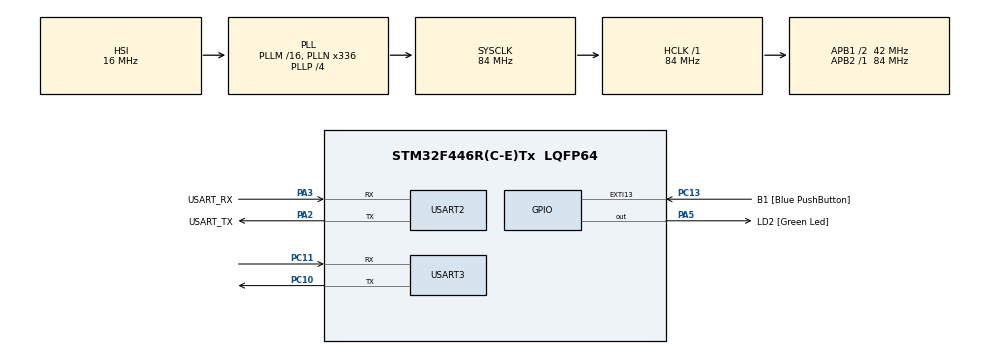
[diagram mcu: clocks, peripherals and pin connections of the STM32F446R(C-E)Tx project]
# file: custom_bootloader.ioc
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Mcu.Family=STM32F4
Mcu.Name=STM32F446R(C-E)Tx
Mcu.Package=LQFP64
NVIC.PriorityGroup=NVIC_PRIORITYGROUP_0
PA13.GPIO_Label=TMS
PA13.Signal=SYS_JTMS-SWDIO
PA14.GPIO_Label=TCK
PA14.Signal=SYS_JTCK-SWCLK
PA2.GPIO_Label=USART_TX
PA2.Mode=Asynchronous
PA2.Signal=USART2_TX
PA3.GPIO_Label=USART_RX
PA3.Mode=Asynchronous
PA3.Signal=USART2_RX
PA5.GPIO_Label=LD2 [Green Led]
PA5.Signal=GPIO_Output
PB3.GPIO_Label=SWO
PB3.Signal=SYS_JTDO-SWO
PC10.Mode=Asynchronous
PC10.Signal=USART3_TX
PC11.Mode=Asynchronous
PC11.Signal=USART3_RX
PC13.GPIO_Label=B1 [Blue PushButton]
PC13.GPIO_ModeDefaultEXTI=GPIO_MODE_IT_FALLING
PC13.Signal=GPXTI13
PC14-OSC32_IN.Signal=RCC_OSC32_IN
PC15-OSC32_OUT.Signal=RCC_OSC32_OUT
PH0-OSC_IN.Signal=RCC_OSC_IN
PH1-OSC_OUT.Signal=RCC_OSC_OUT
ProjectManager.HeapSize=0x200
ProjectManager.StackSize=0x400
ProjectManager.TargetToolchain=STM32CubeIDE
RCC.AHBFreq_Value=84000000
RCC.APB1CLKDivider=RCC_HCLK_DIV2
RCC.APB1Freq_Value=42000000
RCC.APB1TimFreq_Value=84000000
RCC.APB2Freq_Value=84000000
RCC.APB2TimFreq_Value=84000000
RCC.CortexFreq_Value=84000000
RCC.FLatency-AdvancedSettings=FLASH_LATENCY_2
RCC.HCLKFreq_Value=84000000
RCC.HSE_VALUE=8000000
RCC.HSI_VALUE=16000000
RCC.LSE_VALUE=32768
RCC.PLLN=336
RCC.PLLP=RCC_PLLP_DIV4
RCC.SYSCLKFreq_VALUE=84000000
RCC.SYSCLKSource=RCC_SYSCLKSOURCE_PLLCLK
RCC.USBFreq_Value=168000000
RCC.VCOOutputFreq_Value=336000000
USART2.VirtualMode=VM_ASYNC
USART3.VirtualMode=VM_ASYNC
VP_CRC_VS_CRC.Mode=CRC_Activate
board=NUCLEO-F446RE

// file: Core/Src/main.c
/* USER CODE BEGIN Header */
/**
  ******************************************************************************
  * @file           : main.c
  * @brief          : Main program body
  ******************************************************************************
  * @attention
  *
  * Copyright (c) 2026 STMicroelectronics.
  * All rights reserved.
  *
  * This software is licensed under terms that can be found in the LICENSE file
  * in the root directory of this software component.
  * If no LICENSE file comes with this software, it is provided AS-IS.
  *
  ******************************************************************************
  */
/* USER CODE END Header */
#include "main.h"

/* USER CODE BEGIN Includes */
#include <string.h>
#include <stdarg.h>
#include <stdio.h>
/* USER CODE END Includes */

/* USER CODE BEGIN PD */
#define BL_DEBUG_MSG_EN
#define BL_RX_LEN  200
uint8_t bl_rx_buffer[BL_RX_LEN];

/* USER CODE END PD */

CRC_HandleTypeDef hcrc;

UART_HandleTypeDef huart2;
UART_HandleTypeDef huart3;

/* USER CODE BEGIN PV */
#define C_UART   &huart2
#define D_UART   &huart3

/* USER CODE END PV */

void SystemClock_Config(void);
static void MX_GPIO_Init(void);
static void MX_CRC_Init(void);
static void MX_USART2_UART_Init(void);
static void MX_USART3_UART_Init(void);
/* USER CODE BEGIN PFP */
void printmsg(char *format,...);
/* USER CODE END PFP */

/* USER CODE BEGIN 0 */
char *msg="Gaurav\n";
/* USER CODE END 0 */

int main(void)
{

  /* USER CODE BEGIN 1 */

	//note : this is an bootloader code
  /* USER CODE END 1 */

  /* MCU Configuration--------------------------------------------------------*/

  /* Reset of all peripherals, Initializes the Flash interface and the Systick. */
  HAL_Init();

  /* Configure the system clock */
  SystemClock_Config();

  /* Initialize all configured peripherals */
  MX_GPIO_Init();
  MX_CRC_Init();
  MX_USART2_UART_Init();
  MX_USART3_UART_Init();
  /* USER CODE BEGIN 2 */
  //HAL_UART_Transmit(&huart2,(uint8_t*)msg , strlen(msg),HAL_MAX_DELAY);
  /* USER CODE END 2 */

  /* USER CODE BEGIN 3 */

  //in nucleo board pressing the user button makes it ground , it is different in disc board
  if(HAL_GPIO_ReadPin(B1_GPIO_Port,B1_Pin) == GPIO_PIN_RESET)
  {
	  // we should continue in bootloader mode
	  printmsg("BL_DEBUG_MSG:Button is pressed .. going to BL mode\n\r");
	  bootloader_uart_read_data();
  }
  else
  {
	  printmsg("BL_DEBUG_MSG:Button is not pressed .. executing user application\n\r");
	  bootloader_jump_to_user_app();
  }

  /* USER CODE END 3 */
}

void SystemClock_Config(void)
{
  RCC_OscInitTypeDef RCC_OscInitStruct = {0};
  RCC_ClkInitTypeDef RCC_ClkInitStruct = {0};

  /** Configure the main internal regulator output voltage
  */
  __HAL_RCC_PWR_CLK_ENABLE();
  __HAL_PWR_VOLTAGESCALING_CONFIG(PWR_REGULATOR_VOLTAGE_SCALE3);

  /** Initializes the RCC Oscillators according to the specified parameters
  * in the RCC_OscInitTypeDef structure.
  */
  RCC_OscInitStruct.OscillatorType = RCC_OSCILLATORTYPE_HSI;
  RCC_OscInitStruct.HSIState = RCC_HSI_ON;
  RCC_OscInitStruct.HSICalibrationValue = RCC_HSICALIBRATION_DEFAULT;
  RCC_OscInitStruct.PLL.PLLState = RCC_PLL_ON;
  RCC_OscInitStruct.PLL.PLLSource = RCC_PLLSOURCE_HSI;
  RCC_OscInitStruct.PLL.PLLM = 16;
  RCC_OscInitStruct.PLL.PLLN = 336;
  RCC_OscInitStruct.PLL.PLLP = RCC_PLLP_DIV4;
  RCC_OscInitStruct.PLL.PLLQ = 2;
  RCC_OscInitStruct.PLL.PLLR = 2;
  if (HAL_RCC_OscConfig(&RCC_OscInitStruct) != HAL_OK)
  {
    Error_Handler();
  }

  /** Initializes the CPU, AHB and APB buses clocks
  */
  RCC_ClkInitStruct.ClockType = RCC_CLOCKTYPE_HCLK|RCC_CLOCKTYPE_SYSCLK
                              |RCC_CLOCKTYPE_PCLK1|RCC_CLOCKTYPE_PCLK2;
  RCC_ClkInitStruct.SYSCLKSource = RCC_SYSCLKSOURCE_PLLCLK;
  RCC_ClkInitStruct.AHBCLKDivider = RCC_SYSCLK_DIV1;
  RCC_ClkInitStruct.APB1CLKDivider = RCC_HCLK_DIV2;
  RCC_ClkInitStruct.APB2CLKDivider = RCC_HCLK_DIV1;

  if (HAL_RCC_ClockConfig(&RCC_ClkInitStruct, FLASH_LATENCY_2) != HAL_OK)
  {
    Error_Handler();
  }
}

static void MX_CRC_Init(void)
{

  hcrc.Instance = CRC;
  if (HAL_CRC_Init(&hcrc) != HAL_OK)
  {
    Error_Handler();
  }

}

static void MX_USART2_UART_Init(void)
{

  huart2.Instance = USART2;
  huart2.Init.BaudRate = 115200;
  huart2.Init.WordLength = UART_WORDLENGTH_8B;
  huart2.Init.StopBits = UART_STOPBITS_1;
  huart2.Init.Parity = UART_PARITY_NONE;
  huart2.Init.Mode = UART_MODE_TX_RX;
  huart2.Init.HwFlowCtl = UART_HWCONTROL_NONE;
  huart2.Init.OverSampling = UART_OVERSAMPLING_16;
  if (HAL_UART_Init(&huart2) != HAL_OK)
  {
    Error_Handler();
  }

}

static void MX_USART3_UART_Init(void)
{

  huart3.Instance = USART3;
  huart3.Init.BaudRate = 115200;
  huart3.Init.WordLength = UART_WORDLENGTH_8B;
  huart3.Init.StopBits = UART_STOPBITS_1;
  huart3.Init.Parity = UART_PARITY_NONE;
  huart3.Init.Mode = UART_MODE_TX_RX;
  huart3.Init.HwFlowCtl = UART_HWCONTROL_NONE;
  huart3.Init.OverSampling = UART_OVERSAMPLING_16;
  if (HAL_UART_Init(&huart3) != HAL_OK)
  {
    Error_Handler();
  }

}

static void MX_GPIO_Init(void)
{
  GPIO_InitTypeDef GPIO_InitStruct = {0};

  /* GPIO Ports Clock Enable */
  __HAL_RCC_GPIOC_CLK_ENABLE();
  __HAL_RCC_GPIOH_CLK_ENABLE();
  __HAL_RCC_GPIOA_CLK_ENABLE();
  __HAL_RCC_GPIOB_CLK_ENABLE();

  /*Configure GPIO pin Output Level */
  HAL_GPIO_WritePin(LD2_GPIO_Port, LD2_Pin, GPIO_PIN_RESET);

  /*Configure GPIO pin : B1_Pin */
  GPIO_InitStruct.Pin = B1_Pin;
  GPIO_InitStruct.Mode = GPIO_MODE_IT_FALLING;
  GPIO_InitStruct.Pull = GPIO_NOPULL;
  HAL_GPIO_Init(B1_GPIO_Port, &GPIO_InitStruct);

  /*Configure GPIO pin : LD2_Pin */
  GPIO_InitStruct.Pin = LD2_Pin;
  GPIO_InitStruct.Mode = GPIO_MODE_OUTPUT_PP;
  GPIO_InitStruct.Pull = GPIO_NOPULL;
  GPIO_InitStruct.Speed = GPIO_SPEED_FREQ_LOW;
  HAL_GPIO_Init(LD2_GPIO_Port, &GPIO_InitStruct);

}

/* USER CODE BEGIN 4 */

/*
 * our cutsom Bootloader code flow chart
 *
 * Reset MCU -> [Inits : HAL ->gpio->UARTx->CRC->clock] -> <if user button is pressed>:
 *
 * if yes : bootloader_usart_read_data()
 * if no : bootloader_jump_to_user_app()
 *
 *
 * */

void  bootloader_uart_read_data(void) {
  uint8_t rcv_len=0;

  while(1) { // polling for usart_data
    memset(bl_rx_buffer,0,200);
    //here we will read and decode the commands coming from host
    //first read only one byte from the host , which is the "length" field of the command packet
    HAL_UART_Receive(C_UART,bl_rx_buffer,1,HAL_MAX_DELAY); // polling is done here , to recieve command packet
    rcv_len= bl_rx_buffer[0];
    HAL_UART_Receive(C_UART,&bl_rx_buffer[1],rcv_len,HAL_MAX_DELAY); // than read those many bytes , if length byte is received ,m read those many bytes

    // decoding the received command
    switch ( bl_rx_buffer[1] ) {
      case BL_GET_VER:
          bootloader_handle_getver_cmd(bl_rx_buffer); //individual handle command
          break;
      case BL_GET_HELP:
          bootloader_handle_gethelp_cmd(bl_rx_buffer);
          break;
      case BL_GET_CID:
          bootloader_handle_getcid_cmd(bl_rx_buffer);
          break;
      case BL_GET_RDP_STATUS:
          bootloader_handle_getrdp_cmd(bl_rx_buffer);
          break;
      case BL_GO_TO_ADDR:
          bootloader_handle_go_cmd(bl_rx_buffer);
          break;
      case BL_FLASH_ERASE:
          bootloader_handle_flash_erase_cmd(bl_rx_buffer);
          break;
      case BL_MEM_WRITE:
          bootloader_handle_mem_write_cmd(bl_rx_buffer);
          break;
      case BL_EN_RW_PROTECT:
          bootloader_handle_en_rw_protect(bl_rx_buffer);
          break;
      case BL_MEM_READ:
          bootloader_handle_mem_read(bl_rx_buffer);
          break;
      case BL_READ_SECTOR_P_STATUS:
          bootloader_handle_read_sector_protection_status(bl_rx_buffer);
          break;
      case BL_OTP_READ:
          bootloader_handle_read_otp(bl_rx_buffer);
          break;
      case BL_DIS_R_W_PROTECT:
          bootloader_handle_dis_rw_protect(bl_rx_buffer);
          break;
       default:
          printmsg("BL_DEBUG_MSG:Invalid command code received from host \n");
          break;

    }
  }
}

/******************* implementation of boot-loader command Handle functions **********************/

void bootloader_handle_getver_cmd(uint8_t *pbl_rx_buffer)
{

	// refer the flow chart
	// this is handle fucntion
	uint8_t bl_version;
	//1. verify the checksum

	// we verify the CRC over len and command code portion of the packet
	// len is 1 byte , command code is also 1 byte ==> 2bytes , CRC is of 4 bytes sent by host (CRC value)
	// total length of command packet
	uint32_t command_packet_len = pbl_rx_buffer[0]+1;

	//extract the CRC32 sent by the host , move the pointer and extract value pattern
	uint32_t host_crc = *((uint32_t*)(pbl_rx_buffer+command_packet_len-4)); /// i have made it to point to 4 bytes , and than derefenced , keep this pattern in mind
	printmsg("BL_DEBUG_MSG : bootloader_handle_getver_cmd\n");
	if(! bootloader_verify_crc(&pbl_rx_buffer[0],command_packet_len-4,host_crc)) // ==> returns 0 CRC is good , else if 1 CRC is bad
	{
		// for crc cal we need data over which we need to cal crc , len => for traversal over data , and host_crc
		// being sent as parameter

		printmsg("BL_DEBUG_MSG: checksum success !!\n");
		//checksum is correct ..
		bootloader_send_ack(pbl_rx_buffer[1],1); // send ACK
		bl_version= get_bootloader_version(); //obtain reply
		printmsg("BL_DEBUG_MSG:BL_VER :%d %x\n",bl_version,bl_version); //print using debug usart , usart3
		bootloader_uart_write_data(&bl_version,1); // send bootloader data back to host

	}
	else
	{
		printmsg("BL_DEBUG_MSG: checksum failed !!\n");
		//checksum is wrong sen nack
		bootloader_send_nack();

	}

}

void bootloader_handle_gethelp_cmd(uint8_t *pbl_rx_buffer){
		// this command handle is called for get_help command
		// this retrun ACK+ 10 bytes on crc success
		// 10 bytes corresponds to all the command codes

		uint8_t all_ten_command_codes[]={0x51,0x52,0x53,0x54,0x55,0x56,0x57,0x58,0x59,0x5A};

		// total length of command packet
		uint32_t command_packet_len = pbl_rx_buffer[0]+1;

		//extract the CRC32 sent by the host , move the pointer and extract value pattern
		uint32_t host_crc = *((uint32_t*)(pbl_rx_buffer+command_packet_len-4)); /// i have made it to point to 4 bytes , and than derefenced , keep this pattern in mind
		printmsg("BL_DEBUG_MSG : bootloader_handle_getver_cmd\n");
		if(! bootloader_verify_crc(&pbl_rx_buffer[0],command_packet_len-4,host_crc)) // ==> returns 0 CRC is good , else if 1 CRC is bad
		{
			// for crc cal we need data over which we need to cal crc , len => for traversal over data , and host_crc
			// being sent as parameter

			printmsg("BL_DEBUG_MSG: checksum success !!\n");
			//checksum is correct ..
			bootloader_send_ack(pbl_rx_buffer[1],10); // send ACK
		     //obtain reply --> all supported command codes
			//printmsg("BL_DEBUG_MSG:BL_VER :%d %x\n",bl_version,bl_version); //print using debug usart , usart3
			bootloader_uart_write_data(all_ten_command_codes,10); // send bootloader data back to host

		}
		else
		{
			printmsg("BL_DEBUG_MSG: checksum failed !!\n");
			//checksum is wrong sen nack
			bootloader_send_nack();

		}

}
void bootloader_handle_getcid_cmd(uint8_t *pbl_rx_buffer){

	        // handle to get the mcu cid
	        //chip identification number
	        uint16_t mcu_cid;

			// total length of command packet
			uint32_t command_packet_len = pbl_rx_buffer[0]+1;

			//extract the CRC32 sent by the host , move the pointer and extract value pattern
			uint32_t host_crc = *((uint32_t*)(pbl_rx_buffer+command_packet_len-4)); /// i have made it to point to 4 bytes , and than derefenced , keep this pattern in mind
			printmsg("BL_DEBUG_MSG : bootloader_handle_getver_cmd\n");
			if(! bootloader_verify_crc(&pbl_rx_buffer[0],command_packet_len-4,host_crc)) // ==> returns 0 CRC is good , else if 1 CRC is bad
			{
				// for crc cal we need data over which we need to cal crc , len => for traversal over data , and host_crc
				// being sent as parameter

				printmsg("BL_DEBUG_MSG: checksum success !!\n");
				//checksum is correct ..
				bootloader_send_ack(pbl_rx_buffer[1],2); // send ACK
			     //obtain reply
                mcu_cid=get_mcu_chip_id();

				//printmsg("BL_DEBUG_MSG:BL_VER :%d %x\n",bl_version,bl_version); //print using debug usart , usart3
				bootloader_uart_write_data((uint8_t*)&mcu_cid,2); // send bootloader data back to host

			}
			else
			{
				printmsg("BL_DEBUG_MSG: checksum failed !!\n");
				//checksum is wrong sen nack
				bootloader_send_nack();

			}

}
void bootloader_handle_getrdp_cmd(uint8_t *pbl_rx_buffer){
	//command_code for this is 0x54
	//should return the flash Read Protection level (1 Byte).
	//refer the pics on phone to get this , TDS concept use chat gpt to understand about read protection level

	uint8_t rdp_level;
	// total length of command packet
	uint32_t command_packet_len = pbl_rx_buffer[0]+1;

	//extract the CRC32 sent by the host , move the pointer and extract value pattern
	uint32_t host_crc = *((uint32_t*)(pbl_rx_buffer+command_packet_len-4)); /// i have made it to point to 4 bytes , and than derefenced , keep this pattern in mind
	printmsg("BL_DEBUG_MSG : bootloader_handle_getver_cmd\n");
	if(! bootloader_verify_crc(&pbl_rx_buffer[0],command_packet_len-4,host_crc)) // ==> returns 0 CRC is good , else if 1 CRC is bad
	{
		// for crc cal we need data over which we need to cal crc , len => for traversal over data , and host_crc
		// being sent as parameter

		printmsg("BL_DEBUG_MSG: checksum success !!\n");
		//checksum is correct ..
	    bootloader_send_ack(pbl_rx_buffer[1],1); // send ACK
		 //obtain reply
	    rdp_level=get_rdp_level_from_option_bytes();
        //printmsg("BL_DEBUG_MSG:BL_VER :%d %x\n",bl_version,bl_version); //print using debug usart , usart3
		bootloader_uart_write_data(&rdp_level,1); // send bootloader data back to host

	}
	else
	{
		printmsg("BL_DEBUG_MSG: checksum failed !!\n");
		//checksum is wrong sen nack
		bootloader_send_nack();

	}

}
void bootloader_handle_go_cmd(uint8_t *pbl_rx_buffer){
	// command code for this is 0x54
	//should return success or error coe (1 byte)
	// this command is used to jump bootloader to specified address
	  uint32_t go_address=0;
	  uint8_t addr_valid = ADDR_VALID;
	  uint8_t addr_invalid = ADDR_INVALID;

	  printmsg("BL_DEBUG_MSG:bootloader_handle_go_cmd\n");

	  //Total length of the command packet
	  uint32_t command_packet_len = pbl_rx_buffer[0]+1 ;

	  //extract the CRC32 sent by the Host
	  uint32_t host_crc = *((uint32_t * ) (pbl_rx_buffer+command_packet_len - 4) ) ;

	  if (! bootloader_verify_crc(&pbl_rx_buffer[0],command_packet_len-4,host_crc)) {

	    printmsg("BL_DEBUG_MSG:checksum success !!\n");

	    bootloader_send_ack(pbl_rx_buffer[1],1);

	    //extract the go address
	    go_address = *((uint32_t *)&pbl_rx_buffer[2] );
	    printmsg("BL_DEBUG_MSG:GO addr: %#x\n",go_address);

	  if( verify_address(go_address) == ADDR_VALID ) {
	    //tell host that address is fine
	    bootloader_uart_write_data(&addr_valid,1);

	    /*jump to "go" address.
	    we dont care what is being done there.
	    host must ensure that valid code is present over there
	    Its not the duty of bootloader. so just trust and jump */

	    /* Not doing the below line will result in hardfault exception for ARM cortex M */
	    //watch : https://www.youtube.com/watch?v=VX_12SjnNhY

	    go_address+=1; //make T bit =1

	    void (*lets_jump)(void) = (void *)go_address;

	    printmsg("BL_DEBUG_MSG: jumping to go address! \n");

	    lets_jump();

	  } else {

	    printmsg("BL_DEBUG_MSG:GO addr invalid ! \n");
	    //tell host that address is invalid
	    bootloader_uart_write_data(&addr_invalid,1);
	  }

	  } else {
	    printmsg("BL_DEBUG_MSG:checksum fail !!\n");
	    bootloader_send_nack();

	  }

}
void bootloader_handle_flash_erase_cmd(uint8_t *pBuffer){
	// the usecase of this command is to do an mass erase / sector eise erase
	// please refer the coomand details
	// erase means making everything as FF
	// in flash if we want to write something make it 0xff first ... than do
	// we will be uisng flash control drivers for this
	// erase and program operations sequence

	// return success or 1 error 1 byte

	/* sector erase */
	// check that no flash memory operation is on going by checking the BSY bit in FLASH_SR
	// set the SER bit and select the sector out of 7 sectors in the main memory block you wish to erase (SNB) in the flash_CR register
	// set the STRT bit in the flash_CR register
	// wait for the BSY bit to be cleared

	/* Mass erase */

	// we will be uisng flash control drivers for this --> keeps above procedure in mind

	/*
	 * To perform Mass erase, the following sequence is recommended:
		1. Check that no flash memory operation is ongoing by checking the BSY bit in the
		FLASH_SR register
		2. 3. 4. Set the MER bit in the FLASH_CR register
		Set the STRT bit in the FLASH_CR register
		Wait for the BSY bit to be cleared.
	 * */

	  uint8_t erase_status = 0x00;
	  printmsg("BL_DEBUG_MSG:bootloader_handle_flash_erase_cmd\n");

	  //Total length of the command packet
	  uint32_t command_packet_len = bl_rx_buffer[0]+1 ;

	  //extract the CRC32 sent by the Host
	  uint32_t host_crc = *((uint32_t * ) (bl_rx_buffer+command_packet_len - 4) ) ;

	  if (! bootloader_verify_crc(&bl_rx_buffer[0],command_packet_len-4,host_crc)) {

	    printmsg("BL_DEBUG_MSG:checksum success !!\n");
	    bootloader_send_ack(pBuffer[0],1);
	    printmsg("BL_DEBUG_MSG:initial_sector : %d  no_ofsectors: %d\n",pBuffer[2],pBuffer[3]);

	    HAL_GPIO_WritePin(LD2_GPIO_Port, LD2_Pin,1);
	    // below fucntion does the flashErase_init structure filling based on parameters 2, 3 and also calls the flashErase function , note : we need to unlock the flash registers before configuring them as part of flash erase func()
	    // this fucntion also returns
	    erase_status = execute_flash_erase(pBuffer[2] , pBuffer[3]);
	    HAL_GPIO_WritePin(LD2_GPIO_Port, LD2_Pin,0);

	    printmsg("BL_DEBUG_MSG: flash erase status: %#x\n",erase_status);

	    bootloader_uart_write_data(&erase_status,1);

	  } else {

	    printmsg("BL_DEBUG_MSG:checksum fail !!\n");
	    bootloader_send_nack();
	  }

}
void bootloader_handle_mem_write_cmd(uint8_t *pBuffer){

	//first crc checking is done as usual
	uint8_t mem_write_status=ADDR_INVALID;
	uint8_t payload_len;
	uint32_t mem_address;

	//Total length of the command packet
	uint32_t command_packet_len = bl_rx_buffer[0]+1 ;

	//extract the CRC32 sent by the Host
	uint32_t host_crc = *((uint32_t * ) (bl_rx_buffer+command_packet_len - 4) ) ;
    if (! bootloader_verify_crc(&bl_rx_buffer[0],command_packet_len-4,host_crc)) {
    	printmsg("BL_DEBUG_MSG:checksum success !!\n");
        bootloader_send_ack(pBuffer[0],1);
        //once the crc is verified will extract the payload len and mem_address
        payload_len=pBuffer[6];
        mem_address=*((uint32_t*)(&pBuffer[2])); // make it pointer to 32 bytes first than extract that value , which is address
       if(verify_address(mem_address)==ADDR_VALID)
       {
    	   printmsg("BL_DEBUG_MSG: valid mem write address\n");
    	   HAL_GPIO_WritePin(LD2_GPIO_Port, LD2_Pin,1);
    	   mem_write_status=execute_mem_write(&pBuffer[7],mem_address,payload_len);
    	   HAL_GPIO_WritePin(LD2_GPIO_Port, LD2_Pin,0);
    	   bootloader_uart_write_data(&mem_write_status, 1);

       }
       else
       {
    	   printmsg("BL_DEBUG_MSG: invalid mem write address\n");
    	   bootloader_uart_write_data(&mem_write_status,1);
       }

    }
    else
    {
    	  printmsg("BL_DEBUG_MSG:checksum fail !!\n");
    	  bootloader_send_nack();
    }

}
void bootloader_handle_en_rw_protect(uint8_t *pBuffer){

}
void bootloader_handle_mem_read (uint8_t *pBuffer){

}
void bootloader_handle_read_sector_protection_status(uint8_t *pBuffer){

}
void bootloader_handle_read_otp(uint8_t *pBuffer){

}
void bootloader_handle_dis_rw_protect(uint8_t *pBuffer){

}

/* ACK AND NACK implementation */
void bootloader_send_ack(uint8_t command_code, uint8_t length_to_follow_reply_bytes)
{
	//ack reply will be of 2 bytes , ack byte + lentgh to follow in BL reply (could be status or anything )
	uint8_t ack_reply[2];

	ack_reply[0]=BL_ACK_BYTE;
	ack_reply[1]=length_to_follow_reply_bytes;

	HAL_UART_Transmit(&huart2, ack_reply, 2, HAL_MAX_DELAY);

}
void bootloader_send_nack()
{
	//nack reply will be just 1 nack byte , no question of sending reply if CRC fails , just send NACK byte
	uint8_t nack_reply;
	nack_reply=BL_NACK_BYTE;
	HAL_UART_Transmit(&huart2, &nack_reply,1, HAL_MAX_DELAY);
}

//This verifies the CRC of the given buffer in pData .
uint8_t bootloader_verify_crc(uint8_t *pData, uint32_t len, uint32_t crc_host) {

  uint32_t uwCRCValue=0xff;

  for (uint32_t i=0 ; i < len ; i++) {

    uint32_t i_data = pData[i];
    uwCRCValue = HAL_CRC_Accumulate(&hcrc, &i_data, 1);
  }

  /* Reset CRC Calculation Unit */
  __HAL_CRC_DR_RESET(&hcrc);

  if( uwCRCValue == crc_host) {

    return VERIFY_CRC_SUCCESS;
  }

  return VERIFY_CRC_FAIL;
}

uint8_t get_bootloader_version(void)
{
	// this is decided by us , we can mention anything we want
	return (uint8_t)BL_VERSION;

}
void bootloader_uart_write_data(uint8_t *pbuffer,uint32_t len)
{
	HAL_UART_Transmit(&huart2, pbuffer, len, HAL_MAX_DELAY);
}

void bootloader_jump_to_user_app(void) {

  //just a function pointer to hold the address of the reset handler of the user app.
  void (*app_reset_handler)(void);

  printmsg("BL_DEBUG_MSG:bootloader_jump_to_user_app\n");

  // 1. configure the MSP by reading the value from the base address of the sector 2
  uint32_t msp_value = *(volatile uint32_t *)FLASH_SECTOR2_BASE_ADDRESS;
  printmsg("BL_DEBUG_MSG:MSP value : %#x\n",msp_value);

  //This function comes from CMSIS.
  __set_MSP(msp_value);

  //SCB->VTOR = FLASH_SECTOR1_BASE_ADDRESS;

  /* 2. Now fetch the reset handler address of the user application
   * from the location FLASH_SECTOR2_BASE_ADDRESS+4
   */
  uint32_t resethandler_address = *(volatile uint32_t *) (FLASH_SECTOR2_BASE_ADDRESS + 4);

  app_reset_handler = (void*) resethandler_address;

  printmsg("BL_DEBUG_MSG: app reset handler addr : %#x\n",app_reset_handler);

  //3. jump to reset handler of the user application
  app_reset_handler();

}

//Read the chip identifier or device Identifier
uint16_t get_mcu_chip_id(void) {

/*
  The STM32F446xx MCUs integrate an MCU ID code. This ID identifies the ST MCU partnumber
  and the die revision. It is part of the DBG_MCU component and is mapped on the
  external PPB bus (see Section 33.16 on page 1304). This code is accessible using the
  JTAG debug pCat.2ort (4 to 5 pins) or the SW debug port (two pins) or by the user software.
  It is even accessible while the MCU is under system reset. */

  //register: DBGMCU_IDCODE
  uint16_t cid;
  cid = (uint16_t)(DBGMCU->IDCODE) & 0x0FFF;
  return  cid;

}

uint8_t get_rdp_level_from_option_bytes(void)
{
	return (uint8_t)(((*((uint32_t*)0x1FFFC000) & (0xFF << 8)))>>8);
}

//verify the address sent by the host .
uint8_t verify_address(uint32_t go_address) {

  //so, what are the valid addresses to which we can jump ?
  //can we jump to system memory ? yes
  //can we jump to sram1 memory ?  yes
  //can we jump to sram2 memory ? yes
  //can we jump to backup sram memory ? yes
  //can we jump to peripheral memory ? its possible , but dont allow. so no
  //can we jump to external memory ? yes.

  //incomplete -poorly written .. optimize it
  if ( go_address >= SRAM1_BASE && go_address <= SRAM1_END) {

    return ADDR_VALID;
  } else if ( go_address >= SRAM2_BASE && go_address <= SRAM2_END) {

    return ADDR_VALID;
  } else if ( go_address >= FLASH_BASE && go_address <= FLASH_END) {

    return ADDR_VALID;
  } else if ( go_address >= BKPSRAM_BASE && go_address <= BKPSRAM_END) {

    return ADDR_VALID;
  } else
    return ADDR_INVALID;
}

uint8_t execute_flash_erase(uint8_t sector_number , uint8_t number_of_sector) {

  //we have totally 8 sectors in STM32F446RE mcu .. sector[0 to 7]
  //number_of_sector has to be in the range of 0 to 7
  // if sector_number = 0xff , that means mass erase !
  //Code needs to modified if your MCU supports more flash sectors
  FLASH_EraseInitTypeDef flashErase_handle;
  uint32_t sectorError;
  HAL_StatusTypeDef status;

  if( number_of_sector > 8 || sector_number < 0 || sector_number >7 || number_of_sector <0 )
    return INVALID_SECTOR;

  if( (sector_number == 0xff ) || (sector_number <= 7) ) {
    if(sector_number == (uint8_t) 0xff) {
    flashErase_handle.TypeErase = FLASH_TYPEERASE_MASSERASE;

    } else {
      /*Here we are just calculating how many sectors needs to erased */
      uint8_t remanining_sector = 8 - sector_number;
      if( number_of_sector > remanining_sector) {

        number_of_sector = remanining_sector;
      }
      flashErase_handle.TypeErase = FLASH_TYPEERASE_SECTORS;
      //below params doesnt matter for mass erase
      flashErase_handle.Sector = sector_number; // this is the initial sector
      flashErase_handle.NbSectors = number_of_sector;
    }
    flashErase_handle.Banks = FLASH_BANK_1;

    /*Get access to touch the flash registers */
    HAL_FLASH_Unlock();
    flashErase_handle.VoltageRange = FLASH_VOLTAGE_RANGE_3;  // our mcu will work on this voltage range
    status = (uint8_t) HAL_FLASHEx_Erase(&flashErase_handle, &sectorError);
    HAL_FLASH_Lock();

    return status;
  }

  return INVALID_SECTOR;
}

// currently this fucntion supports only writing to flash

uint8_t execute_mem_write(uint8_t *pBuffer,uint32_t mem_address,uint32_t len)
{
	uint8_t status= HAL_OK;
	//we have to unlock the flash to get control of registers

	HAL_FLASH_Unlock();

	for(uint32_t i=0;i<len;i++)
	{
		status = HAL_FLASH_Program(FLASH_TYPEPROGRAM_BYTE,mem_address+i,pBuffer[i]);

	}
	HAL_FLASH_Lock();

	return status;

}

/*printf formateed string to console over UART*/
void printmsg(char *format,...)
{

#ifdef BL_DEBUG_MSG_EN
 char str[80];
 /*Extract the argument list using VA api's*/
 va_list args;
 va_start(args,format);
 vsprintf(str, format,args);
 HAL_UART_Transmit(D_UART, (uint8_t*)str , strlen(str),HAL_MAX_DELAY);
 va_end(args);
#endif

}
/* USER CODE END 4 */

void Error_Handler(void)
{
  __disable_irq();
  while (1)
  {
  }
}
